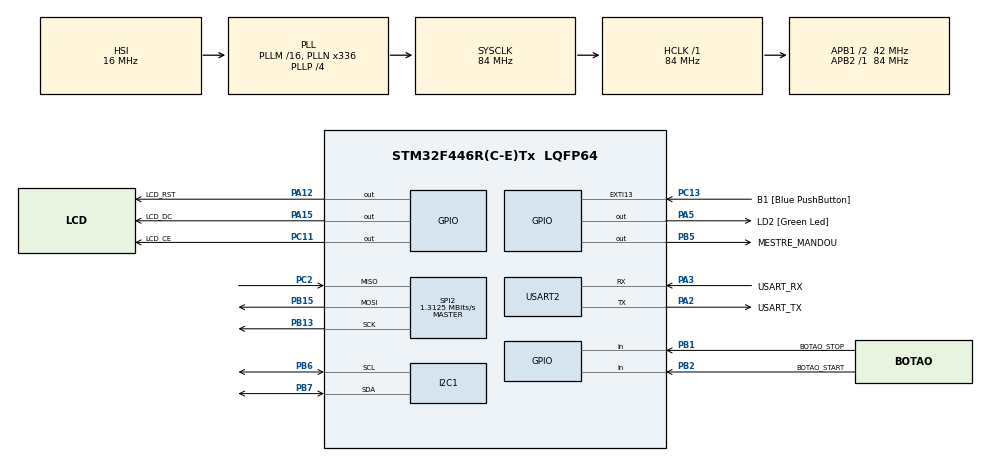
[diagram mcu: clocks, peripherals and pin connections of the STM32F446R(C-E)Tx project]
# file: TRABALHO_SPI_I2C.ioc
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Mcu.Family=STM32F4
Mcu.Name=STM32F446R(C-E)Tx
Mcu.Package=LQFP64
NVIC.PriorityGroup=NVIC_PRIORITYGROUP_0
NVIC.TIM1_UP_TIM10_IRQn=true\:0\:0\:false\:false\:true\:true\:true\:true
NVIC.USART2_IRQn=true\:0\:0\:false\:false\:true\:true\:true\:true
PA12.GPIO_Label=LCD_RST
PA12.Signal=GPIO_Output
PA13.GPIO_Label=TMS
PA13.Mode=Serial_Wire
PA13.Signal=SYS_JTMS-SWDIO
PA14.GPIO_Label=TCK
PA14.Mode=Serial_Wire
PA14.Signal=SYS_JTCK-SWCLK
PA15.GPIO_Label=LCD_DC
PA15.Signal=GPIO_Output
PA2.GPIO_Label=USART_TX
PA2.Mode=Asynchronous
PA2.Signal=USART2_TX
PA3.GPIO_Label=USART_RX
PA3.Mode=Asynchronous
PA3.Signal=USART2_RX
PA5.GPIO_Label=LD2 [Green Led]
PA5.Signal=GPIO_Output
PB1.GPIO_Label=BOTAO_STOP
PB1.GPIO_PuPd=GPIO_PULLDOWN
PB1.Signal=GPIO_Input
PB13.Mode=Full_Duplex_Master
PB13.Signal=SPI2_SCK
PB15.Mode=Full_Duplex_Master
PB15.Signal=SPI2_MOSI
PB2.GPIO_Label=BOTAO_START
PB2.GPIO_PuPd=GPIO_PULLDOWN
PB2.Signal=GPIO_Input
PB3.GPIO_Label=SWO
PB3.Signal=SYS_JTDO-SWO
PB5.GPIO_Label=MESTRE_MANDOU
PB5.Signal=GPIO_Output
PB6.Mode=I2C
PB6.Signal=I2C1_SCL
PB7.Mode=I2C
PB7.Signal=I2C1_SDA
PC11.GPIO_Label=LCD_CE
PC11.Signal=GPIO_Output
PC13.GPIO_Label=B1 [Blue PushButton]
PC13.GPIO_ModeDefaultEXTI=GPIO_MODE_IT_FALLING
PC13.Signal=GPXTI13
PC14-OSC32_IN.Mode=LSE-External-Oscillator
PC14-OSC32_IN.Signal=RCC_OSC32_IN
PC15-OSC32_OUT.Mode=LSE-External-Oscillator
PC15-OSC32_OUT.Signal=RCC_OSC32_OUT
PC2.Mode=Full_Duplex_Master
PC2.Signal=SPI2_MISO
PH0-OSC_IN.Mode=HSE-External-Oscillator
PH0-OSC_IN.Signal=RCC_OSC_IN
PH1-OSC_OUT.Mode=HSE-External-Oscillator
PH1-OSC_OUT.Signal=RCC_OSC_OUT
ProjectManager.HeapSize=0x200
ProjectManager.StackSize=0x400
ProjectManager.TargetToolchain=STM32CubeIDE
RCC.48MHZClocksFreq_Value=84000000
RCC.AHBFreq_Value=84000000
RCC.APB1CLKDivider=RCC_HCLK_DIV2
RCC.APB1Freq_Value=42000000
RCC.APB1TimFreq_Value=84000000
RCC.APB2Freq_Value=84000000
RCC.APB2TimFreq_Value=84000000
RCC.CortexFreq_Value=84000000
RCC.FLatency-AdvancedSettings=FLASH_LATENCY_2
RCC.HCLKFreq_Value=84000000
RCC.HSE_VALUE=8000000
RCC.HSI_VALUE=16000000
RCC.PLLN=336
RCC.PLLP=RCC_PLLP_DIV4
RCC.SYSCLKFreq_VALUE=84000000
RCC.SYSCLKSource=RCC_SYSCLKSOURCE_PLLCLK
RCC.USBFreq_Value=168000000
RCC.VCOOutputFreq_Value=336000000
SPI2.BaudRatePrescaler=SPI_BAUDRATEPRESCALER_32
SPI2.CalculateBaudRate=1.3125 MBits/s
SPI2.Direction=SPI_DIRECTION_2LINES
SPI2.Mode=SPI_MODE_MASTER
SPI2.VirtualType=VM_MASTER
TIM10.Period=8399
TIM10.Prescaler=2499
USART2.VirtualMode=VM_ASYNC
VP_TIM10_VS_ClockSourceINT.Mode=Enable_Timer
board=NUCLEO-F446RE

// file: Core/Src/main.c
/* USER CODE BEGIN Header */
/**
 ******************************************************************************
 * @file           : main.c
 * @brief          : Main program body
 ******************************************************************************
 * @attention
 *
 * Copyright (c) 2025 STMicroelectronics.
 * All rights reserved.
 *
 * This software is licensed under terms that can be found in the LICENSE file
 * in the root directory of this software component.
 * If no LICENSE file comes with this software, it is provided AS-IS.
 *
 ******************************************************************************
 */
/* USER CODE END Header */
#include "main.h"
#include "i2c.h"
#include "spi.h"
#include "tim.h"
#include "usart.h"
#include "gpio.h"
/* USER CODE BEGIN Includes */
#include "lcd5110_hal.h"
#include "lcd5110_graphics.h"
#include "mpu6050_func.h"
#include "funcGerais.h"
#include "direcao.h"
#include <stdlib.h>
#include <time.h>
/* USER CODE END Includes */
/* USER CODE BEGIN PV */
uint8_t dir; // armazena a direção da seta
float THRESHOLD = 0.5; // sensibilidade do movimento
leituraAcel leituraA; // variavel que armazena a aceleração
int acertosSequencia = 0; // armazena a sequencia de acertos
int start = 0; // botao de iniciar
int stop = 1; // botao de parar
Direcao direcaoAtual = DIR_NEUTRO; // estado inicial da placa
Direcao direcaoAnterior = DIR_NEUTRO; // estado inicial da placa
uint32_t tempoSeta = 0; // tempo que aparece a seta (calculo com HAL_GetTick)
uint8_t aguardandoMovimento = 0; //
int mestre_mandou = 0; // estado do LED e ordem do "mestre mandou"
uint8_t tela_inicial_mostrada = 0; // exibe a tela inicial do jogo
/* USER CODE END PV */
void SystemClock_Config(void);
int main(void)
{
	/* MCU Configuration--------------------------------------------------------*/
	/* Reset of all peripherals, Initializes the Flash interface and the Systick. */
	HAL_Init();
	/* Configure the system clock */
	SystemClock_Config();
	/* Initialize all configured peripherals */
	MX_GPIO_Init();
	MX_USART2_UART_Init();
	MX_SPI2_Init();
	MX_I2C1_Init();
	MX_TIM10_Init();
	/* USER CODE BEGIN 2 */
	mpu6050Init(); // Inicializa o sensor
	LCD5110_Init(); // Inicializa o display
	LCD5110_clrScr(); // Limpa o display
	srand(HAL_GetTick()); // Aleatoriza a seed
	mostrarTelaInicial(); // Exibe a tela inicial do jogo
	/* USER CODE END 2 */
	/* Infinite loop */
	/* USER CODE BEGIN WHILE */
	while (1)
	{
		lerBotoes(); // Lê o estado dos botoões de start e stop
		if (stop && !tela_inicial_mostrada) // Exibe a tela inicial se stop for clicado
		{
			mostrarTelaInicial();
			tela_inicial_mostrada = 1;
		}
		if (start && !stop) // Se start for clicado, começa o jogo
		{
			if (!aguardandoMovimento) // exibe as setas para após poder observar o movimento
			{
				mestre_mandou = rand() % 2; // Lógica do Mestre Mandou
				if (mestre_mandou == 0) // caso o número aleatório seja 0
				{
					// NÃO mandei
					HAL_GPIO_WritePin(MESTRE_MANDOU_GPIO_Port, MESTRE_MANDOU_Pin, GPIO_PIN_RESET); // LED FICA APAGADO
					// Gera nova direção
					do
					{
						direcaoAtual = (Direcao)(rand() % 4); // aleatoriza a seta para ser diferente da anterior
					} while (direcaoAtual == direcaoAnterior); // caso seja a mesma seta da rodada anterior, faz ela alterar
					direcaoAnterior = direcaoAtual;
					desenharSeta(direcaoAtual); // Exibe seta
					uint32_t tempoInicial = HAL_GetTick();
					while (HAL_GetTick() - tempoInicial < 1000) // tempo entre setas
					{
						mpu6050ReadAccel(&leituraA); // faz a leitura do sensor para observar se o usuário se moveu
						float ax = leituraA.accelX / 16384.0;
						float ay = leituraA.accelY / 16384.0;
						Direcao mov = detectarMovimento(ax, ay, THRESHOLD); // verifica se o usuário fez um movimento brusco
						if (mov != DIR_NEUTRO)
						{
							// Movimento foi detectado com LED apagado => erro!
							mostrarResultado(0);
							acertosSequencia = 0;
							enviarAcertosSequencia();
							start = 0;
							stop = 1;
							tela_inicial_mostrada = 0;
							break; // sai do while
						}
						HAL_Delay(50); // pequena pausa entre leituras
					}
					HAL_Delay(500); // pequena espera antes da próxima rodada (opcional)
				}
				else // CASO MESTRE MANDOU = 1
				{
					HAL_GPIO_WritePin(MESTRE_MANDOU_GPIO_Port, MESTRE_MANDOU_Pin, GPIO_PIN_SET); // LED FICA ACESO
					// Gera nova direção
					do
					{
						direcaoAtual = (Direcao)(rand() % 4); // aleatoriza uma seta
					} while (direcaoAtual == direcaoAnterior); // faz a seta ser diferente da anterior
					direcaoAnterior = direcaoAtual;
					desenharSeta(direcaoAtual); // desenha a seta
					tempoSeta = HAL_GetTick();
					aguardandoMovimento = 1; // espera o movimento do usuário
				}
			}
			else // se o usuário não se mecher, o usuário perde
			{
				// Aguarda movimento por no máximo 2 segundos
				if (HAL_GetTick() - tempoSeta > 2000)
				{
					// Timeout
					mostrarResultado(0);
					acertosSequencia = 0;
					start = 0;
					stop = 1;
					tela_inicial_mostrada = 0;
					aguardandoMovimento = 0;
				}
				else if (HAL_GetTick() - tempoSeta > 1000) // só começa a verificar após 1s
				{
					mpu6050ReadAccel(&leituraA); // faz a leitura do movimento
					float ax = leituraA.accelX / 16384.0;
					float ay = leituraA.accelY / 16384.0;
					Direcao mov = detectarMovimento(ax, ay, THRESHOLD); // verifica se o movimento é válido
					if (mov != DIR_NEUTRO)
					{
						if (mov == direcaoAtual) // se movimento igual à seta
						{
							mostrarResultado(1); // exibe acertou no display
							acertosSequencia++; // aumenta a quantidade de acertos
						}
						else // se o usuário errou
						{
							mostrarResultado(0); // exibe errou no display
							acertosSequencia = 0; // zera os acertos em sequência
							start = 0;
							stop = 1; // volta a tela inicial do jogo
							tela_inicial_mostrada = 0;
						}
						enviarAcertosSequencia(); // envia a quantidade de acertos
						aguardandoMovimento = 0;
						HAL_Delay(500); // Pausa após resposta
					}
					else // se movimento for igual a neutro, ele zera os acertos
					{
						acertosSequencia = 0; // zera os acertos em sequência
						start = 0;
						stop = 1; // volta a tela inicial do jogo
						tela_inicial_mostrada = 0;
						enviarAcertosSequencia(); // envia a quantidade de acertos
						aguardandoMovimento = 0;
						HAL_Delay(500); // Pausa após resposta
					}
				}
			}
			HAL_Delay(50); // Suavização
		}
	}
 /* USER CODE END 3 */
}
void SystemClock_Config(void)
{
 RCC_OscInitTypeDef RCC_OscInitStruct = {0};
 RCC_ClkInitTypeDef RCC_ClkInitStruct = {0};
 /** Configure the main internal regulator output voltage
 */
 __HAL_RCC_PWR_CLK_ENABLE();
 __HAL_PWR_VOLTAGESCALING_CONFIG(PWR_REGULATOR_VOLTAGE_SCALE3);
 /** Initializes the RCC Oscillators according to the specified parameters
 * in the RCC_OscInitTypeDef structure.
 */
 RCC_OscInitStruct.OscillatorType = RCC_OSCILLATORTYPE_HSI;
 RCC_OscInitStruct.HSIState = RCC_HSI_ON;
 RCC_OscInitStruct.HSICalibrationValue = RCC_HSICALIBRATION_DEFAULT;
 RCC_OscInitStruct.PLL.PLLState = RCC_PLL_ON;
 RCC_OscInitStruct.PLL.PLLSource = RCC_PLLSOURCE_HSI;
 RCC_OscInitStruct.PLL.PLLM = 16;
 RCC_OscInitStruct.PLL.PLLN = 336;
 RCC_OscInitStruct.PLL.PLLP = RCC_PLLP_DIV4;
 RCC_OscInitStruct.PLL.PLLQ = 2;
 RCC_OscInitStruct.PLL.PLLR = 2;
 if (HAL_RCC_OscConfig(&RCC_OscInitStruct) != HAL_OK)
 {
   Error_Handler();
 }
 /** Initializes the CPU, AHB and APB buses clocks
 */
 RCC_ClkInitStruct.ClockType = RCC_CLOCKTYPE_HCLK|RCC_CLOCKTYPE_SYSCLK
                             |RCC_CLOCKTYPE_PCLK1|RCC_CLOCKTYPE_PCLK2;
 RCC_ClkInitStruct.SYSCLKSource = RCC_SYSCLKSOURCE_PLLCLK;
 RCC_ClkInitStruct.AHBCLKDivider = RCC_SYSCLK_DIV1;
 RCC_ClkInitStruct.APB1CLKDivider = RCC_HCLK_DIV2;
 RCC_ClkInitStruct.APB2CLKDivider = RCC_HCLK_DIV1;
 if (HAL_RCC_ClockConfig(&RCC_ClkInitStruct, FLASH_LATENCY_2) != HAL_OK)
 {
   Error_Handler();
 }
}
void Error_Handler(void)
{
 __disable_irq();
 while (1)
 {
 }
}
